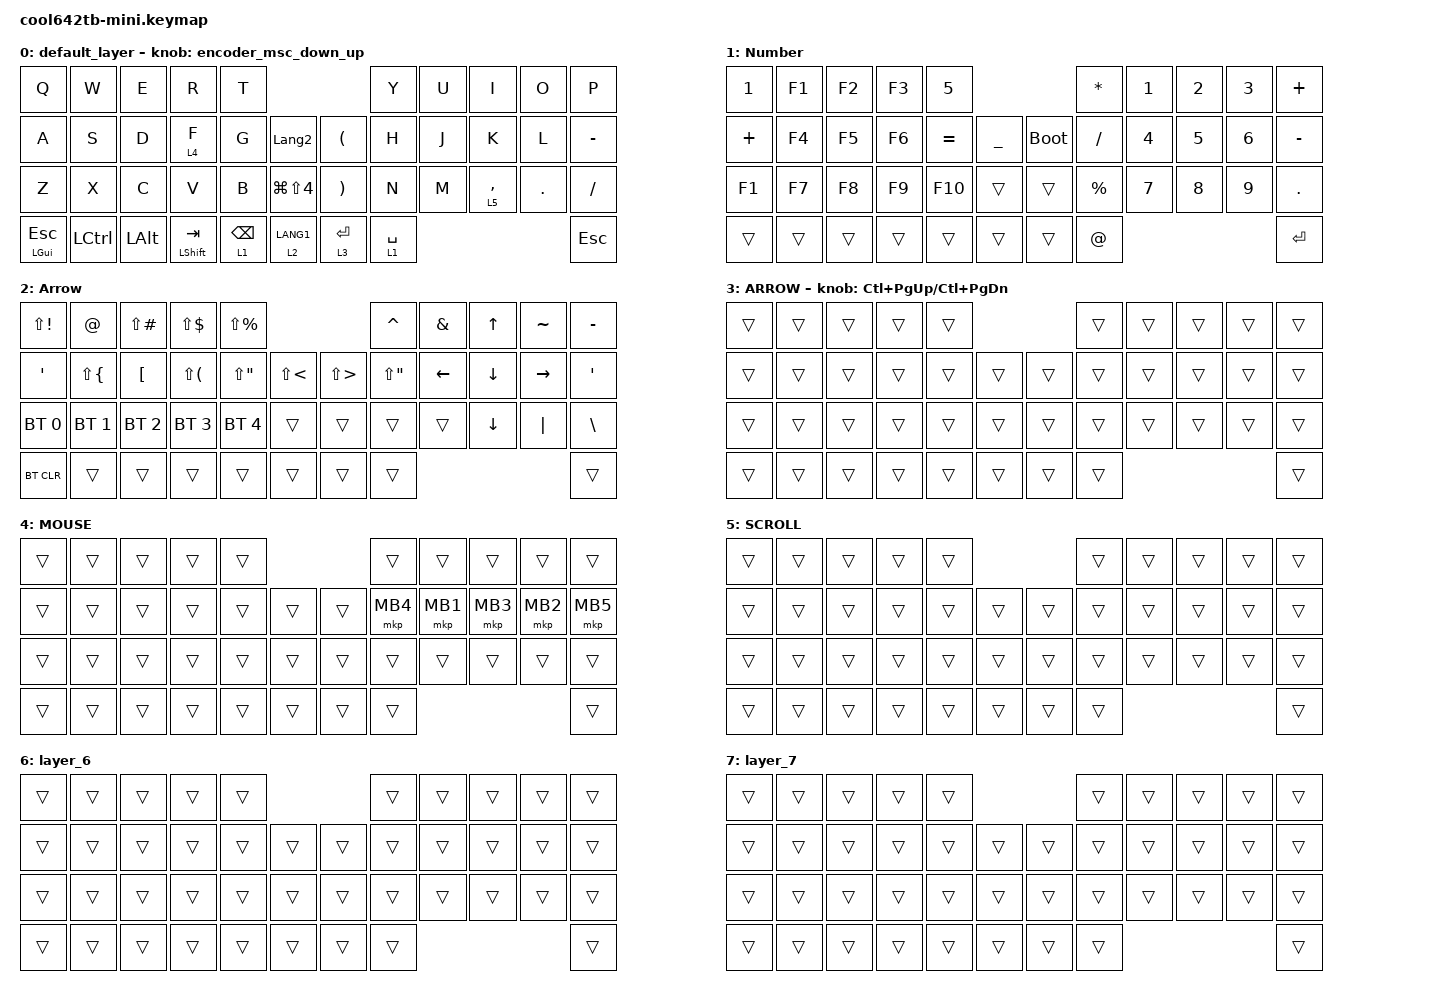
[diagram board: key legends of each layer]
#include <behaviors.dtsi>
#include <dt-bindings/zmk/bt.h>
#include <dt-bindings/zmk/keys.h>
#include <dt-bindings/zmk/pointing.h>

#define MOUSE 4
#define SCROLL 5
#define NUM 6
#define ZMK_POINTING_DEFAULT_SCRL_VAL 80

&mt {
    flavor = "balanced";
    quick-tap-ms = <0>;
};

/ {
    combos {
        compatible = "zmk,combos";

        shift_tab {
            bindings = <&kp LANG2>;
            key-positions = <12 13>;
        };

        lang {
            bindings = <&kp LANG1>;
            key-positions = <18 19>;
        };
    };

    behaviors {
        encoder_msc_down_up: encoder_msc_down_up {
            compatible = "zmk,behavior-sensor-rotate";
            label = "ENCODER_MSC_DOWN_UP";
            #sensor-binding-cells = <0>;
            bindings = <&msc SCRL_UP>, <&msc SCRL_DOWN>;

            tap-ms = <20>;
        };
    };

    keymap {
        compatible = "zmk,keymap";

        default_layer {
            bindings = <
&kp Q                &kp W             &kp E         &kp R               &kp T                                                             &kp Y        &kp U  &kp I        &kp O    &kp P
&kp A                &kp S             &kp D         &lt 4 F             &kp G            &kp LANGUAGE_2            &kp LEFT_PARENTHESIS   &kp H        &kp J  &kp K        &kp L    &kp MINUS
&kp Z                &kp X             &kp C         &kp V               &kp B            &kp LG(LS(NUMBER_4))      &kp RIGHT_PARENTHESIS  &kp N        &kp M  &lt 5 COMMA  &kp DOT  &kp SLASH
&mt LEFT_GUI ESCAPE  &kp LEFT_CONTROL  &kp LEFT_ALT  &mt LEFT_SHIFT TAB  &lt 1 BACKSPACE  &lt 2 LANG1               &lt 3 ENTER            &lt 1 SPACE                               &kp ESCAPE
            >;

            sensor-bindings = <&encoder_msc_down_up>;
        };

        Number {
            bindings = <
&kp N1    &kp F1  &kp F2  &kp F3  &kp N5                                 &kp ASTERISK  &kp NUMBER_1  &kp NUMBER_2  &kp NUMBER_3  &kp PLUS
&kp PLUS  &kp F4  &kp F5  &kp F6  &kp EQUAL  &kp UNDER      &bootloader  &kp SLASH     &kp NUMBER_4  &kp N5        &kp NUMBER_6  &kp MINUS
&kp F1    &kp F7  &kp F8  &kp F9  &kp F10    &trans         &trans       &kp PERCENT   &kp N7        &kp N8        &kp N9        &kp PERIOD
&trans    &trans  &trans  &trans  &trans     &trans         &trans       &kp AT_SIGN                                             &kp ENTER
            >;
        };

        Arrow {
            bindings = <
&kp LS(EXCL)  &kp AT        &kp LS(POUND)  &kp LS(DLLR)  &kp LS(PRCNT)                              &kp CARET    &kp AMPERSAND   &kp UP_ARROW    &kp TILDE        &kp MINUS
&kp SQT       &kp LS(LBRC)  &kp LBKT       &kp LS(LPAR)  &kp LS(DQT)    &kp LS(LT)      &kp LS(GT)  &kp LS(DQT)  &kp LEFT_ARROW  &kp DOWN_ARROW  &kp RIGHT_ARROW  &kp SQT
&bt BT_SEL 0  &bt BT_SEL 1  &bt BT_SEL 2   &bt BT_SEL 3  &bt BT_SEL 4   &trans          &trans      &trans       &trans          &kp DOWN_ARROW  &kp PIPE         &kp BACKSLASH
&bt BT_CLR    &trans        &trans         &trans        &trans         &trans          &trans      &trans                                                        &trans
            >;
        };

        ARROW {
            bindings = <
&trans  &trans  &trans  &trans  &trans                      &trans  &trans  &trans  &trans  &trans
&trans  &trans  &trans  &trans  &trans  &trans      &trans  &trans  &trans  &trans  &trans  &trans
&trans  &trans  &trans  &trans  &trans  &trans      &trans  &trans  &trans  &trans  &trans  &trans
&trans  &trans  &trans  &trans  &trans  &trans      &trans  &trans                          &trans
            >;

            sensor-bindings = <&inc_dec_kp LC(PAGE_UP) LC(PAGE_DOWN)>;
        };

        MOUSE {
            bindings = <
&trans  &trans  &trans  &trans  &trans                      &trans    &trans    &trans    &trans    &trans
&trans  &trans  &trans  &trans  &trans  &trans      &trans  &mkp MB4  &mkp MB1  &mkp MB3  &mkp MB2  &mkp MB5
&trans  &trans  &trans  &trans  &trans  &trans      &trans  &trans    &trans    &trans    &trans    &trans
&trans  &trans  &trans  &trans  &trans  &trans      &trans  &trans                                  &trans
            >;
        };

        SCROLL {
            bindings = <
&trans  &trans  &trans  &trans  &trans                      &trans  &trans  &trans  &trans  &trans
&trans  &trans  &trans  &trans  &trans  &trans      &trans  &trans  &trans  &trans  &trans  &trans
&trans  &trans  &trans  &trans  &trans  &trans      &trans  &trans  &trans  &trans  &trans  &trans
&trans  &trans  &trans  &trans  &trans  &trans      &trans  &trans                          &trans
            >;
        };

        layer_6 {
            bindings = <
&trans  &trans  &trans  &trans  &trans                      &trans  &trans  &trans  &trans  &trans
&trans  &trans  &trans  &trans  &trans  &trans      &trans  &trans  &trans  &trans  &trans  &trans
&trans  &trans  &trans  &trans  &trans  &trans      &trans  &trans  &trans  &trans  &trans  &trans
&trans  &trans  &trans  &trans  &trans  &trans      &trans  &trans                          &trans
            >;
        };

        layer_7 {
            bindings = <
&trans  &trans  &trans  &trans  &trans                      &trans  &trans  &trans  &trans  &trans
&trans  &trans  &trans  &trans  &trans  &trans      &trans  &trans  &trans  &trans  &trans  &trans
&trans  &trans  &trans  &trans  &trans  &trans      &trans  &trans  &trans  &trans  &trans  &trans
&trans  &trans  &trans  &trans  &trans  &trans      &trans  &trans                          &trans
            >;
        };
    };
};
